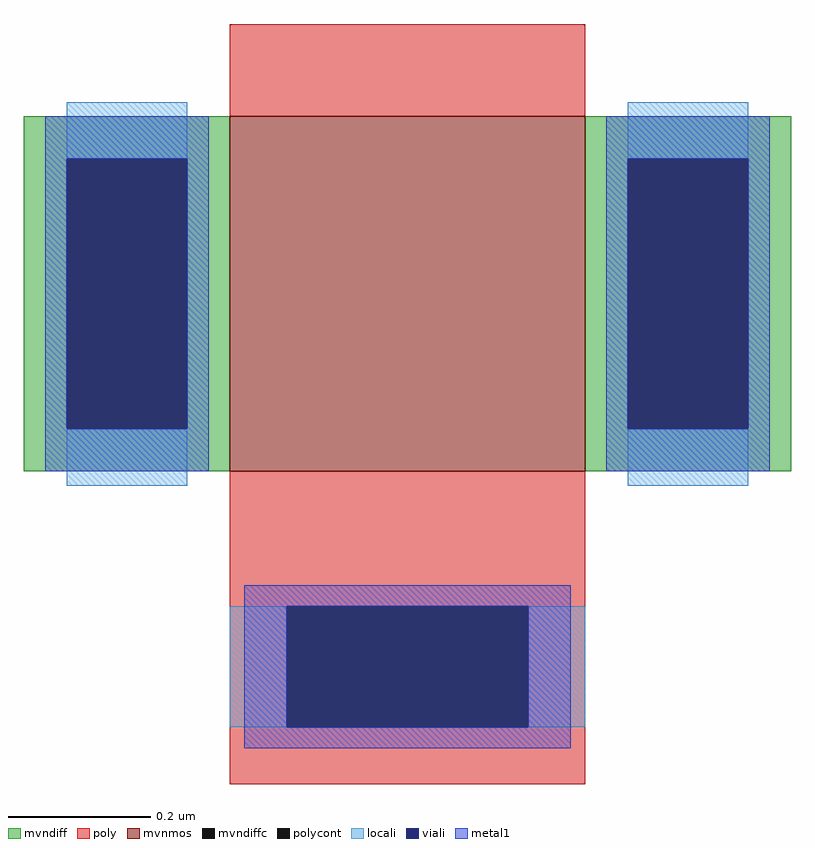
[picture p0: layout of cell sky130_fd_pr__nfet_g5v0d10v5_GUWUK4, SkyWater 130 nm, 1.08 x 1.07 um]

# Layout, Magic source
magic
tech sky130A
magscale 1 2
<< mvnmos >>
rect -50 -19 50 81
<< mvndiff >>
rect -108 69 -50 81
rect -108 -7 -96 69
rect -62 -7 -50 69
rect -108 -19 -50 -7
rect 50 69 108 81
rect 50 -7 62 69
rect 96 -7 108 69
rect 50 -19 108 -7
<< mvndiffc >>
rect -96 -7 -62 69
rect 62 -7 96 69
<< poly >>
rect -50 81 50 107
rect -50 -57 50 -19
rect -50 -91 -34 -57
rect 34 -91 50 -57
rect -50 -107 50 -91
<< polycont >>
rect -34 -91 34 -57
<< locali >>
rect -96 69 -62 85
rect -96 -23 -62 -7
rect 62 69 96 85
rect 62 -23 96 -7
rect -50 -91 -34 -57
rect 34 -91 50 -57
<< viali >>
rect -96 -7 -62 69
rect 62 -7 96 69
rect -34 -91 34 -57
<< metal1 >>
rect -102 69 -56 81
rect -102 -7 -96 69
rect -62 -7 -56 69
rect -102 -19 -56 -7
rect 56 69 102 81
rect 56 -7 62 69
rect 96 -7 102 69
rect 56 -19 102 -7
rect -46 -57 46 -51
rect -46 -91 -34 -57
rect 34 -91 46 -57
rect -46 -97 46 -91
<< properties >>
string gencell sky130_fd_pr__nfet_g5v0d10v5
string library sky130
string parameters w 0.5 l 0.5 m 1 nf 1 diffcov 100 polycov 100 guard 0 glc 1 grc 1 gtc 1 gbc 1 tbcov 100 rlcov 100 topc 0 botc 1 poverlap 0 doverlap 1 lmin 0.50 wmin 0.42 compatible {sky130_fd_pr__nfet_01v8 sky130_fd_pr__nfet_01v8_lvt  sky130_fd_bs_flash__special_sonosfet_star  sky130_fd_pr__nfet_g5v0d10v5 sky130_fd_pr__nfet_05v0_nvt  sky130_fd_pr__nfet_03v3_nvt} full_metal 1 viasrc 100 viadrn 100 viagate 100 viagb 0 viagr 0 viagl 0 viagt 0
<< end >>
